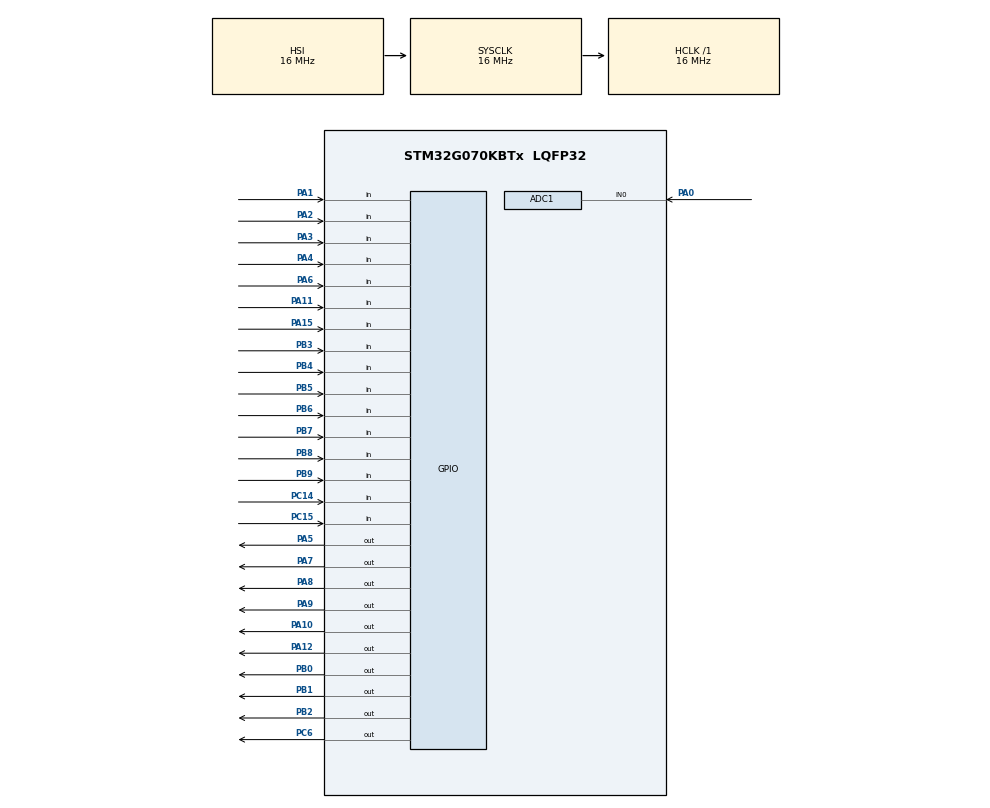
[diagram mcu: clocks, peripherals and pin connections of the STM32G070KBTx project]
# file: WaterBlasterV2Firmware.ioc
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ADC1.Channel-0\#ChannelRegularConversion=ADC_CHANNEL_0
ADC1.NbrOfConversionFlag=1
ADC1.Rank-0\#ChannelRegularConversion=1
ADC1.SamplingTime-0\#ChannelRegularConversion=ADC_SAMPLINGTIME_COMMON_1
ADC1.SelectedChannel=ADC_CHANNEL_0
ADC1.master=1
Mcu.Family=STM32G0
Mcu.Name=STM32G070KBTx
Mcu.Package=LQFP32
PA0.Mode=IN0
PA0.Signal=ADC1_IN0
PA1.Signal=GPIO_Input
PA10.Signal=GPIO_Output
PA11\ [PA9].Signal=GPIO_Input
PA12\ [PA10].Signal=GPIO_Output
PA13.Mode=Serial_Wire
PA13.Signal=SYS_SWDIO
PA14-BOOT0.Mode=Serial_Wire
PA14-BOOT0.Signal=SYS_SWCLK
PA15.Signal=GPIO_Input
PA2.Signal=GPIO_Input
PA3.Signal=GPIO_Input
PA4.Signal=GPIO_Input
PA5.Signal=GPIO_Output
PA6.Signal=GPIO_Input
PA7.Signal=GPIO_Output
PA8.Signal=GPIO_Output
PA9.Signal=GPIO_Output
PB0.Signal=GPIO_Output
PB1.Signal=GPIO_Output
PB2.Signal=GPIO_Output
PB3.Signal=GPIO_Input
PB4.Signal=GPIO_Input
PB5.Signal=GPIO_Input
PB6.Signal=GPIO_Input
PB7.Signal=GPIO_Input
PB8.Signal=GPIO_Input
PB9.Signal=GPIO_Input
PC14-OSC32_IN\ (PC14).Signal=GPIO_Input
PC15-OSC32_OUT\ (PC15).Signal=GPIO_Input
PC6.Signal=GPIO_Output
ProjectManager.HeapSize=0x200
ProjectManager.StackSize=0x400
ProjectManager.TargetToolchain=STM32CubeIDE
RCC.AHBFreq_Value=16000000
RCC.CortexFreq_Value=16000000
RCC.EXTERNAL_CLOCK_VALUE=48000
RCC.HCLKFreq_Value=16000000
RCC.HSE_VALUE=8000000
RCC.HSI_VALUE=16000000
RCC.LSE_VALUE=32768
RCC.SYSCLKFreq_VALUE=16000000
RCC.VCOOutputFreq_Value=128000000
board=custom

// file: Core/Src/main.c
/* USER CODE BEGIN Header */
/**
 ******************************************************************************
 * @file           : main.c
 * @brief          : Main program body
 ******************************************************************************
 * @attention
 *
 * Copyright (c) 2025 STMicroelectronics.
 * All rights reserved.
 *
 * This software is licensed under terms that can be found in the LICENSE file
 * in the root directory of this software component.
 * If no LICENSE file comes with this software, it is provided AS-IS.
 *
 ******************************************************************************
 */
/* USER CODE END Header */
#include "main.h"

#include "newhaven_slim_oled.h"

    int use_sensors = 0;

ADC_HandleTypeDef hadc1;

int read_pressure_psi(void) {
    HAL_ADC_Start(&hadc1);

    if (HAL_ADC_PollForConversion(&hadc1, HAL_MAX_DELAY) != HAL_OK) {
        return -1;
    }

    uint32_t adc_raw_value = HAL_ADC_GetValue(&hadc1);
    float voltage = ((adc_raw_value * 3.3f) / 4095.0f) * 2.0f;

    if (voltage < 0.7f) voltage = 0.7f;
    if (voltage > 4.5f) voltage = 4.5f;

    float pressure = ((voltage - 0.7f) / 3.8f) * 150.0f;

    // Proper rounding for both positive and negative values
    if (pressure >= 0.0f)
        return (int)(pressure + 0.5f);
    else
        return (int)(pressure - 0.5f);
}
/* USER CODE BEGIN PV */
static uint8_t last_encoded = 0;

int read_encoder_delta(void) {
    static uint8_t last_state = 0;
    static int8_t delta_accumulator = 0;

    uint8_t a = HAL_GPIO_ReadPin(GPIOA, GPIO_PIN_2);
    uint8_t b = HAL_GPIO_ReadPin(GPIOA, GPIO_PIN_3);

    uint8_t new_state = (a << 1) | b;

    // Only act if state actually changed
    if (new_state != last_state) {
        // Combine old and new state into 4-bit transition code
        uint8_t transition = (last_state << 2) | new_state;
        last_state = new_state;

        // Decode direction
        switch (transition) {
            case 0b0001:
            case 0b0111:
            case 0b1110:
            case 0b1000:
                delta_accumulator++;
                break;

            case 0b0010:
            case 0b1011:
            case 0b1101:
            case 0b0100:
                delta_accumulator--;
                break;

            default:
                // Illegal transition or bounce; ignore
                break;
        }

        // Return ±1 only when 4 steps in one direction accumulated
        if (delta_accumulator >= 4) {
            delta_accumulator = 0;
            return 1;
        } else if (delta_accumulator <= -4) {
            delta_accumulator = 0;
            return -1;
        }
    }

    return 0;
}

char OLED[4][20];
char Buffer[4][20]; // staging buffer to write to

void clear_buffer(void) {
    for (int row = 0; row < 4; row++) {
        memset(Buffer[row], ' ', 20);
    }
}

void update_display_chunks(char Buffer[4][20]) {
    for (uint8_t row = 0; row < 4; row++) {
        uint32_t *oled_row = (uint32_t *)OLED[row];
        uint32_t *buf_row  = (uint32_t *)Buffer[row];

        for (uint8_t chunk = 0; chunk < 5; chunk++) { // 20 chars / 4 = 5 chunks
            if (oled_row[chunk] != buf_row[chunk]) {
                // There's a difference in this chunk — do per-char check
                uint8_t base_col = chunk * 4;

                for (uint8_t offset = 0; offset < 4; offset++) {
                    uint8_t col = base_col + offset;
                    if (Buffer[row][col] != OLED[row][col]) {
                        NHD_OLED_cursorPos(row, col);
                        NHD_OLED_sendData(Buffer[row][col]);
                        OLED[row][col] = Buffer[row][col];
//                        Buffer[row][col] = 0x20;
                    }
                }
            }
        }
    }
}

void pad_center(char dst[20], const char *src) {
    int len = strlen(src);
    if (len > 20) len = 20;

    int pad_left = (20 - len) / 2;
    int pad_right = 20 - len - pad_left;

    memset(dst, ' ', 20);
    memcpy(dst + pad_left, src, len);
}

void pad_right_20(char dst[20], const char *src) {
    int len = strlen(src);
    if (len > 20) len = 20;

    memset(dst, ' ', 20);
    memcpy(dst + (20 - len), src, len);
}

void pad_left_20(char dst[20], const char *src) {
    int len = strlen(src);
    if (len > 20) len = 20;

    memcpy(dst, src, len);
    if (len < 20)
        memset(dst + len, ' ', 20 - len);
}

void enter_emergency_shutdown(void) {
    // Immediately stop everything
    HAL_GPIO_WritePin(GPIOA, GPIO_PIN_8, GPIO_PIN_RESET); // valve closed
    HAL_GPIO_WritePin(GPIOB, GPIO_PIN_2, GPIO_PIN_RESET); // pump off
    HAL_GPIO_WritePin(GPIOA, GPIO_PIN_9, GPIO_PIN_RESET); // LED1 off
    HAL_GPIO_WritePin(GPIOA, GPIO_PIN_10, GPIO_PIN_RESET); // LED2 off
    HAL_GPIO_WritePin(GPIOC, GPIO_PIN_6, GPIO_PIN_RESET); // LED3 off

    clear_buffer();
    pad_center(Buffer[1], "!! LEAK DETECTED !!");
    pad_center(Buffer[2], "Shutdown.");
    update_display_chunks(Buffer);

    uint32_t shutdown_start = HAL_GetTick();

    while (HAL_GetTick() - shutdown_start < 5000) {
        HAL_Delay(10); // Wait quietly for 5 seconds
    }

    NHD_OLED_displayOff(); // Turn off OLED after 5 sec

    // Now sit here doing nothing until a reset button (e.g., PB3) is pressed
    while (HAL_GPIO_ReadPin(GPIOB, GPIO_PIN_6) == GPIO_PIN_SET) {
        // Waiting for PB3 to be pressed
        HAL_Delay(10);
    }

    // Optionally: Hard reset microcontroller when button is pressed
    NVIC_SystemReset();
}

void monitor_status(void) {
	int current_psi = read_pressure_psi();
	if(use_sensors == 1){
		if(HAL_GPIO_ReadPin(GPIOB, GPIO_PIN_3) == GPIO_PIN_RESET || HAL_GPIO_ReadPin(GPIOB, GPIO_PIN_4) == GPIO_PIN_RESET || HAL_GPIO_ReadPin(GPIOA, GPIO_PIN_15) == GPIO_PIN_RESET || current_psi > 125){

		// Immediately stop everything
		HAL_GPIO_WritePin(GPIOA, GPIO_PIN_8, GPIO_PIN_RESET); // valve closed
		HAL_GPIO_WritePin(GPIOB, GPIO_PIN_2, GPIO_PIN_RESET); // pump off
		HAL_GPIO_WritePin(GPIOA, GPIO_PIN_9, GPIO_PIN_RESET); // LED1 off
		HAL_GPIO_WritePin(GPIOA, GPIO_PIN_10, GPIO_PIN_RESET); // LED2 off
		HAL_GPIO_WritePin(GPIOC, GPIO_PIN_6, GPIO_PIN_RESET); // LED3 off

		clear_buffer();
		pad_center(Buffer[1], "!! LEAK DETECTED !!");
		pad_center(Buffer[2], "Shutdown.");
		update_display_chunks(Buffer);

		uint32_t shutdown_start = HAL_GetTick();

		while (HAL_GetTick() - shutdown_start < 5000) {
			HAL_Delay(10); // Wait quietly for 5 seconds
		}

		NHD_OLED_displayOff(); // Turn off OLED after 5 sec

		// Now sit here doing nothing until a reset button (e.g., PB3) is pressed
		while (HAL_GPIO_ReadPin(GPIOB, GPIO_PIN_7) == GPIO_PIN_SET) {
			// Waiting for PB3 to be pressed
			HAL_Delay(10);
		}

		// Optionally: Hard reset microcontroller when button is pressed
		NVIC_SystemReset();
		}
	}
}
/* USER CODE END PV */
int psi_to_percent(int psi) {
    if (psi >= 75) return 100;
    if (psi <= 25) return 0;

    return ((psi - 25) * 100) / 50;  // scale from 25–75 PSI to 0–100%
}

void SystemClock_Config(void);
static void MX_GPIO_Init(void);
static void MX_ADC1_Init(void);

/* USER CODE BEGIN 0 */
// Declare a global variable to track the last tick
/*
 *
 *
 0 = home page
 1 = settings for shot length
 *
 */
/* USER CODE END 0 */

int main(void) {
    uint32_t previousTick = 0;
    uint32_t lastPressureUpdate = 0;
    static int last_pressure_value = -1;

    int shots = 0;
    int page = 0;
    int shot_length = 1000;
    int shot_max = 10000;
    int shot_min = 20;
    int pressed = 0;
    int fire_type = 0;
    int ignore_shots_remaining = 1;
    char message[20];
    static uint8_t refill_button_was_down = 0;
    uint8_t length;
	static uint8_t emergency_previous = 1;
	const char *settings_options[] = {
	    "Shot Length",
	    "Firing Mode",
	    "Drain Tank",
	    "Safety Monitoring",
		"Fire Bypass"
	};
	const int settings_count = sizeof(settings_options) / sizeof(settings_options[0]);

	int settings_selection = 0;   // Which item is selected (0 to 5)
	int settings_scroll = 0;      // Topmost visible option index

    HAL_Init();
    SystemClock_Config();
    MX_GPIO_Init();
    MX_ADC1_Init();
    HAL_ADC_Start(&hadc1);

    HAL_GPIO_WritePin(GPIOB, GPIO_PIN_0, GPIO_PIN_RESET);
    HAL_GPIO_WritePin(GPIOB, GPIO_PIN_1, GPIO_PIN_SET);
    HAL_Delay(500);
    NHD_OLED_begin();
    NHD_OLED_textClear();

    HAL_GPIO_WritePin(GPIOA, GPIO_PIN_8, GPIO_PIN_RESET); // Valve CLOSED on startup
    HAL_GPIO_WritePin(GPIOA, GPIO_PIN_9, GPIO_PIN_SET);
    HAL_GPIO_WritePin(GPIOA, GPIO_PIN_10, GPIO_PIN_SET);
    HAL_GPIO_WritePin(GPIOC, GPIO_PIN_6, GPIO_PIN_SET);

    // Force PB5 to be input with no pull
    GPIO_InitTypeDef GPIO_InitStruct = {0};
    GPIO_InitStruct.Pin = GPIO_PIN_5;
    GPIO_InitStruct.Mode = GPIO_MODE_INPUT;
    GPIO_InitStruct.Pull = GPIO_NOPULL;
    HAL_GPIO_Init(GPIOB, &GPIO_InitStruct);

    GPIO_InitStruct.Pin = GPIO_PIN_7;
    GPIO_InitStruct.Mode = GPIO_MODE_INPUT;
    GPIO_InitStruct.Pull = GPIO_NOPULL;
    HAL_GPIO_Init(GPIOB, &GPIO_InitStruct);

    page = 100;
    int power_pressed = 0;

    while (1) {
        uint8_t button_now = HAL_GPIO_ReadPin(GPIOB, GPIO_PIN_7);

        if (button_now == GPIO_PIN_RESET) { // Button pressed
            if (power_pressed == 0) { // Only act if wasn't already pressed

                HAL_Delay(10); // 🔥 Add debounce delay (10ms typical)

                if (HAL_GPIO_ReadPin(GPIOB, GPIO_PIN_7) == GPIO_PIN_RESET) {
                    // Still pressed after delay ➔ valid press
                    if (page == 100) {
                        page = 0; // Turn display ON
                    } else {
                        page = 100; // Turn display OFF
                        clear_buffer();
                        update_display_chunks(Buffer);
                    }
                }
            }
            power_pressed = 1;
        } else {
            power_pressed = 0;
        	if(page == 100) continue;

			monitor_status();

			if (!HAL_GPIO_ReadPin(GPIOB, GPIO_PIN_5)) {
				if (pressed != 1) {
					page = (page == 0) ? 1 : 0;
					clear_buffer();
					update_display_chunks(Buffer);
					pressed = 1;
				}
			} else {
				pressed = 0;
			}

			if (page == 0) {
				pad_center(Buffer[0], "Home Page");

				if (HAL_GetTick() - lastPressureUpdate >= 250) {
					last_pressure_value = read_pressure_psi();
					lastPressureUpdate = HAL_GetTick();
				}

				snprintf(message, sizeof(message), "%d PSI", last_pressure_value);
				pad_center(Buffer[1], message);

				int tank_percent = psi_to_percent(last_pressure_value);
				snprintf(message, sizeof(message), "Tank: %d%%", tank_percent);
				pad_center(Buffer[2], message);

				// trigger
				if (HAL_GPIO_ReadPin(GPIOA, GPIO_PIN_11) == GPIO_PIN_RESET) {
				    switch (fire_type) {
				        case 0: // Single Shot
				            if (shots > 0 || ignore_shots_remaining) {
				                HAL_GPIO_TogglePin(GPIOA, GPIO_PIN_9);
				                HAL_GPIO_WritePin(GPIOA, GPIO_PIN_8, GPIO_PIN_SET); // valve open
				                pad_center(Buffer[3], "Firing");
				                update_display_chunks(Buffer);
				                HAL_Delay(shot_length);
				                HAL_GPIO_WritePin(GPIOA, GPIO_PIN_8, GPIO_PIN_RESET); // valve closed
				                HAL_GPIO_TogglePin(GPIOA, GPIO_PIN_9);
				                pad_center(Buffer[3], "Shot Fired");
				                update_display_chunks(Buffer);
				                shots--;
				                if (shots < 0) shots = 0;
				            } else {
				                pad_center(Buffer[3], "Out of Shots!");
				                update_display_chunks(Buffer);
				                HAL_Delay(1500);
				                pad_center(Buffer[3], " ");
				            }
				            break;

				        case 1: // Burst Fire (3 shots)
				            for (int i = 0; i < 3; i++) {
				                if (shots <= 0 && !ignore_shots_remaining) break;
				                HAL_GPIO_TogglePin(GPIOA, GPIO_PIN_9);
				                HAL_GPIO_WritePin(GPIOA, GPIO_PIN_8, GPIO_PIN_SET); // valve open
				                pad_center(Buffer[3], "Burst Shot");
				                update_display_chunks(Buffer);
				                HAL_Delay(shot_length);
				                HAL_GPIO_WritePin(GPIOA, GPIO_PIN_8, GPIO_PIN_RESET); // valve closed
				                HAL_GPIO_TogglePin(GPIOA, GPIO_PIN_9);
				                shots--;
				                if (shots < 0) shots = 0;
				                HAL_Delay(100); // delay between burst shots
				            }
				            pad_center(Buffer[3], "Burst Done");
				            update_display_chunks(Buffer);
				            break;

				        case 2: // Stream (hold until trigger released)
				            pad_center(Buffer[3], "Streaming...");
				            update_display_chunks(Buffer);

				            HAL_GPIO_TogglePin(GPIOA, GPIO_PIN_9);
				            HAL_GPIO_WritePin(GPIOA, GPIO_PIN_8, GPIO_PIN_SET); // valve open

				            while (HAL_GPIO_ReadPin(GPIOA, GPIO_PIN_11) == GPIO_PIN_RESET) {
				                if (shots <= 0 && !ignore_shots_remaining) break;
				                HAL_Delay(10); // short loop delay
				                // optionally update shots/time/pressure live here
				            }

				            HAL_GPIO_WritePin(GPIOA, GPIO_PIN_8, GPIO_PIN_RESET); // valve closed
				            HAL_GPIO_TogglePin(GPIOA, GPIO_PIN_9);

				            pad_center(Buffer[3], "Stream Ended");
				            update_display_chunks(Buffer);

				            if (!ignore_shots_remaining) {
				                // Estimate how many shots to deduct based on time
				                // (Optional improvement: measure real time instead of guessing)
				                shots--;
				                if (shots < 0) shots = 0;
				            }
				            break;
				    }
				}

				uint8_t refill_button = HAL_GPIO_ReadPin(GPIOB, GPIO_PIN_6);
				if (refill_button == GPIO_PIN_RESET && !refill_button_was_down) {
					refill_button_was_down = 1;

					int cancelled = 0;
					int refill_button_was_released = 0;
					int current_psi = read_pressure_psi();

					HAL_GPIO_WritePin(GPIOA, GPIO_PIN_8, GPIO_PIN_SET); // open valve
					HAL_GPIO_WritePin(GPIOB, GPIO_PIN_2, GPIO_PIN_SET);   // pump on
					HAL_GPIO_WritePin(GPIOC, GPIO_PIN_6, GPIO_PIN_SET);   // LED on

					pad_center(Buffer[3], "Refill: Valve Open");
					snprintf(message, sizeof(message), "%d PSI", current_psi);
					pad_center(Buffer[1], message);
					snprintf(message, sizeof(message), "Tank: %d%%", psi_to_percent(current_psi));
					pad_center(Buffer[2], message);

					update_display_chunks(Buffer);

					while (1) {
						monitor_status();

						if (HAL_GPIO_ReadPin(GPIOB, GPIO_PIN_6) == GPIO_PIN_SET) refill_button_was_released = 1;
						if (refill_button_was_released && HAL_GPIO_ReadPin(GPIOB, GPIO_PIN_6) == GPIO_PIN_RESET) {
							cancelled = 1;
							break;
						}
						current_psi = read_pressure_psi();
						pad_center(Buffer[3], "Refill: Valve Open");
						snprintf(message, sizeof(message), "%d PSI", current_psi);
						pad_center(Buffer[1], message);
						snprintf(message, sizeof(message), "Tank: %d%%", psi_to_percent(current_psi));
						pad_center(Buffer[2], message);

						update_display_chunks(Buffer);
						if (current_psi >= 12) {
							HAL_GPIO_WritePin(GPIOA, GPIO_PIN_8, GPIO_PIN_RESET); // close valve immediately
							pad_center(Buffer[3], "Refill: Valve Shut");
							snprintf(message, sizeof(message), "%d PSI", current_psi);
							pad_center(Buffer[1], message);
							snprintf(message, sizeof(message), "Tank: %d%%", psi_to_percent(current_psi));
							pad_center(Buffer[2], message);

							update_display_chunks(Buffer);
							break;
						}
						HAL_Delay(100);
					}

					while (!cancelled && current_psi < 70) {
						monitor_status();
						if (HAL_GPIO_ReadPin(GPIOB, GPIO_PIN_6) == GPIO_PIN_SET) refill_button_was_released = 1;
						if (refill_button_was_released && HAL_GPIO_ReadPin(GPIOB, GPIO_PIN_6) == GPIO_PIN_RESET) {
							cancelled = 1;
							break;
						}
						current_psi = read_pressure_psi();
						pad_center(Buffer[3], "Refill: Charging");
						snprintf(message, sizeof(message), "%d PSI", current_psi);
						pad_center(Buffer[1], message);
						snprintf(message, sizeof(message), "Tank: %d%%", psi_to_percent(current_psi));
						pad_center(Buffer[2], message);

						update_display_chunks(Buffer);
						HAL_Delay(100);
					}

					if (!cancelled) {
						monitor_status();
						pad_center(Buffer[3], "Refill: Final Boost");
						update_display_chunks(Buffer);
						uint32_t end_time = HAL_GetTick() + 5000;
						while (HAL_GetTick() < end_time) {
							if (HAL_GPIO_ReadPin(GPIOB, GPIO_PIN_6) == GPIO_PIN_SET) refill_button_was_released = 1;
							if (refill_button_was_released && HAL_GPIO_ReadPin(GPIOB, GPIO_PIN_6) == GPIO_PIN_RESET) {
								cancelled = 1;
								break;
							}
							current_psi = read_pressure_psi();
							snprintf(message, sizeof(message), "%d PSI", current_psi);
							pad_center(Buffer[1], message);
							snprintf(message, sizeof(message), "Tank: %d%%", psi_to_percent(current_psi));
							pad_center(Buffer[2], message);

							update_display_chunks(Buffer);
							HAL_Delay(100);
						}
					}

					// Always close the valve after refill attempt
					HAL_GPIO_WritePin(GPIOA, GPIO_PIN_8, GPIO_PIN_RESET);
					HAL_GPIO_WritePin(GPIOB, GPIO_PIN_2, GPIO_PIN_RESET);  // pump off
					HAL_GPIO_WritePin(GPIOC, GPIO_PIN_6, GPIO_PIN_RESET);  // LED off

					if (cancelled) pad_center(Buffer[3], "Refill: Cancelled");
					else pad_center(Buffer[3], "Refill: Complete");

					snprintf(message, sizeof(message), "%d PSI", current_psi);
					pad_center(Buffer[1], message);
					snprintf(message, sizeof(message), "Tank: %d%%", psi_to_percent(current_psi));
					pad_center(Buffer[2], message);

					update_display_chunks(Buffer);

					if (HAL_GPIO_ReadPin(GPIOB, GPIO_PIN_6) == GPIO_PIN_SET) {
						refill_button_was_down = 0;
					}
				}

				if (refill_button == GPIO_PIN_SET) refill_button_was_down = 0;

				if (HAL_GetTick() - previousTick >= 1000) {
					HAL_GPIO_TogglePin(GPIOA, GPIO_PIN_10);
					previousTick = HAL_GetTick();
				}

				update_display_chunks(Buffer);
			}
			if (page == 1) {
			    pad_center(Buffer[0], "Settings");

			    while (1) {  // Stay here until button press
			        // Fill Buffer
			        for (int i = 0; i < 3; i++) {
			            int option_idx = settings_scroll + i;
			            if (option_idx < settings_count) {
			                if (option_idx == settings_selection) {
			                    char temp[20];
			                    snprintf(temp, sizeof(temp), ">%s", settings_options[option_idx]);
			                    pad_left_20(Buffer[i + 1], temp);
			                } else {
			                    pad_left_20(Buffer[i + 1], settings_options[option_idx]);
			                }
			            } else {
			                pad_left_20(Buffer[i + 1], "");
			            }
			        }

			        update_display_chunks(Buffer);

			        // Handle emergency
					monitor_status();

			        // Handle encoder rotation
			        int delta = read_encoder_delta();
			        if (delta != 0) {
			            settings_selection += delta * -1;

			            if (settings_selection < 0) settings_selection = 0;
			            if (settings_selection >= settings_count) settings_selection = settings_count - 1;

			            if (settings_selection < settings_scroll) {
			                settings_scroll = settings_selection;
			            }
			            else if (settings_selection >= settings_scroll + 3) {
			                settings_scroll = settings_selection - 2;
			                if (settings_scroll > settings_count - 3) {
			                    settings_scroll = settings_count - 3;
			                    if (settings_scroll < 0) settings_scroll = 0;
			                }
			            }

//			            clear_buffer();
			        }

			        // ======= Button handling: (THIS IS THE IMPORTANT PART) =======

			        // PA4 pressed (encoder button) → select setting
			        if (HAL_GPIO_ReadPin(GPIOA, GPIO_PIN_4) == GPIO_PIN_RESET && pressed == 0) {
			            pressed = 1;
			            page = settings_selection + 2; // Enter selected setting page
			            break;
			        }

			        // PB5 pressed (exit button) → go back to home
			        if (HAL_GPIO_ReadPin(GPIOB, GPIO_PIN_5) == GPIO_PIN_RESET && pressed == 0) {
			            pressed = 1;
			            page = 0; // Back to Home Page
			            break;
			        }

			        // Debounce release
			        if (HAL_GPIO_ReadPin(GPIOA, GPIO_PIN_4) == GPIO_PIN_SET && HAL_GPIO_ReadPin(GPIOB, GPIO_PIN_5) == GPIO_PIN_SET) {
			            pressed = 0;
			        }

			        HAL_Delay(1);
			    }

			    clear_buffer();
			    update_display_chunks(Buffer);
			}

			if (page == 2) {
				pad_center(Buffer[0], "Settings: Shot Power");
				snprintf(message, sizeof(message), "Min: %d, Max: %d", shot_min, shot_max);
				pad_left_20(Buffer[1], message);
				snprintf(message, sizeof(message), "Current Level: %d", shot_length);
				pad_left_20(Buffer[2], message);
				update_display_chunks(Buffer);

				while (HAL_GPIO_ReadPin(GPIOA, GPIO_PIN_4) || pressed == 1) {
					if(HAL_GPIO_ReadPin(GPIOA, GPIO_PIN_4) == GPIO_PIN_SET){
						pressed = 0;
					}
					monitor_status();
					int delta = read_encoder_delta();
					if (delta != 0) {
						shot_length += delta * 20 * -1;
						if (shot_length < shot_min) shot_length = shot_min;
						if (shot_length > shot_max) shot_length = shot_max;
						snprintf(message, sizeof(message), "Current Level: %d", shot_length);
						pad_left_20(Buffer[2], message);
						update_display_chunks(Buffer);
					}
					HAL_Delay(1);
				}

				page = 1;
				clear_buffer();
				update_display_chunks(Buffer);
				pressed = 1;
			}
			if (page == 3) {
			    const char *fire_modes[] = { "Single", "Burst", "Stream" };
			    const int fire_mode_count = sizeof(fire_modes) / sizeof(fire_modes[0]);

			    pad_center(Buffer[0], "Settings: Firing Mode");
			    snprintf(message, sizeof(message), "Mode: %s", fire_modes[fire_type]);
			    pad_center(Buffer[2], message);
			    update_display_chunks(Buffer);

			    while (HAL_GPIO_ReadPin(GPIOA, GPIO_PIN_4) || pressed == 1) {
			        if (HAL_GPIO_ReadPin(GPIOA, GPIO_PIN_4) == GPIO_PIN_SET) {
			            pressed = 0;
			        }

					monitor_status();

			        int delta = read_encoder_delta();
			        if (delta != 0) {
			            fire_type += delta * -1;

			            // Wrap within 0 to fire_mode_count - 1
			            if (fire_type < 0) fire_type = 0;
			            if (fire_type >= fire_mode_count) fire_type = fire_mode_count - 1;

			            snprintf(message, sizeof(message), "Mode: %s", fire_modes[fire_type]);
			            pad_center(Buffer[2], message);
			            update_display_chunks(Buffer);
			        }

			        HAL_Delay(1);
			    }

			    page = 1;
			    clear_buffer();
			    update_display_chunks(Buffer);
			    pressed = 1;
			}
			if (page == 5) {
			    const char *sensor_options[] = { "Disabled", "Enabled" };
			    const int sensor_option_count = sizeof(sensor_options) / sizeof(sensor_options[0]);

			    pad_center(Buffer[0], "Settings: Sensors");
			    snprintf(message, sizeof(message), "Status: %s", sensor_options[use_sensors]);
			    pad_center(Buffer[2], message);
			    update_display_chunks(Buffer);

			    while (HAL_GPIO_ReadPin(GPIOA, GPIO_PIN_4) || pressed == 1) {
			        if (HAL_GPIO_ReadPin(GPIOA, GPIO_PIN_4) == GPIO_PIN_SET) {
			            pressed = 0;
			        }

			        if (HAL_GPIO_ReadPin(GPIOB, GPIO_PIN_4) == GPIO_PIN_RESET) {
			            enter_emergency_shutdown();
			        }

			        int delta = read_encoder_delta();
			        if (delta != 0) {
			            use_sensors += delta * -1;

			            // Clamp between 0 and 1
			            if (use_sensors < 0) use_sensors = 0;
			            if (use_sensors > 1) use_sensors = 1;

			            snprintf(message, sizeof(message), "Status: %s", sensor_options[use_sensors]);
			            pad_center(Buffer[2], message);
			            update_display_chunks(Buffer);
			        }

			        HAL_Delay(1);
			    }

			    page = 1;
			    clear_buffer();
			    update_display_chunks(Buffer);
			    pressed = 1;
			}
			if (page == 6) {
			    const char *bypass_options[] = { "Disabled", "Enabled" };
			    const int bypass_option_count = sizeof(bypass_options) / sizeof(bypass_options[0]);

			    pad_center(Buffer[0], "Settings: Fire Bypass");
			    snprintf(message, sizeof(message), "Status: %s", bypass_options[ignore_shots_remaining]);
			    pad_center(Buffer[2], message);
			    update_display_chunks(Buffer);

			    while (HAL_GPIO_ReadPin(GPIOA, GPIO_PIN_4) || pressed == 1) {
			        if (HAL_GPIO_ReadPin(GPIOA, GPIO_PIN_4) == GPIO_PIN_SET) {
			            pressed = 0;
			        }

			        if (HAL_GPIO_ReadPin(GPIOB, GPIO_PIN_4) == GPIO_PIN_RESET) {
			            enter_emergency_shutdown();
			        }

			        int delta = read_encoder_delta();
			        if (delta != 0) {
			            ignore_shots_remaining += delta * -1;

			            // Clamp between 0 and 1
			            if (ignore_shots_remaining < 0) ignore_shots_remaining = 0;
			            if (ignore_shots_remaining > 1) ignore_shots_remaining = 1;

			            snprintf(message, sizeof(message), "Status: %s", bypass_options[ignore_shots_remaining]);
			            pad_center(Buffer[2], message);
			            update_display_chunks(Buffer);
			        }

			        HAL_Delay(1);
			    }

			    page = 1;
			    clear_buffer();
			    update_display_chunks(Buffer);
			    pressed = 1;
			}
			if (page == 4) {
			    pad_center(Buffer[0], "Drain Tank");
			    pad_center(Buffer[2], "Valve Open");
			    update_display_chunks(Buffer);

			    HAL_GPIO_WritePin(GPIOA, GPIO_PIN_8, GPIO_PIN_SET); // valve open

			    uint32_t start_time = HAL_GetTick();
			    const uint32_t drain_duration_ms = 60000;

			    while (HAL_GetTick() - start_time < drain_duration_ms) {
			        // Exit early if encoder button is pressed
			        if (HAL_GPIO_ReadPin(GPIOA, GPIO_PIN_4) == GPIO_PIN_RESET) {
			            break;
			        }

			        monitor_status();

			        // Update countdown display every second
			        uint32_t seconds_left = (drain_duration_ms - (HAL_GetTick() - start_time)) / 1000;
			        snprintf(message, sizeof(message), "Time Left: %lus", seconds_left);
			        pad_center(Buffer[3], message);
			        update_display_chunks(Buffer);

			        HAL_Delay(100); // fast enough for cancel, slow enough for display
			    }

			    HAL_GPIO_WritePin(GPIOA, GPIO_PIN_8, GPIO_PIN_RESET); // valve closed

			    pad_center(Buffer[2], "Valve Closed");
			    pad_center(Buffer[3], "Returning...");
			    update_display_chunks(Buffer);
			    HAL_Delay(1000);

			    page = 1;
			    clear_buffer();
			    update_display_chunks(Buffer);
			    pressed = 1;
			}

		}
	}
}

void SystemClock_Config(void)
{
  RCC_OscInitTypeDef RCC_OscInitStruct = {0};
  RCC_ClkInitTypeDef RCC_ClkInitStruct = {0};

  /** Configure the main internal regulator output voltage
  */
  HAL_PWREx_ControlVoltageScaling(PWR_REGULATOR_VOLTAGE_SCALE1);

  /** Initializes the RCC Oscillators according to the specified parameters
  * in the RCC_OscInitTypeDef structure.
  */
  RCC_OscInitStruct.OscillatorType = RCC_OSCILLATORTYPE_HSI;
  RCC_OscInitStruct.HSIState = RCC_HSI_ON;
  RCC_OscInitStruct.HSIDiv = RCC_HSI_DIV1;
  RCC_OscInitStruct.HSICalibrationValue = RCC_HSICALIBRATION_DEFAULT;
  RCC_OscInitStruct.PLL.PLLState = RCC_PLL_NONE;
  if (HAL_RCC_OscConfig(&RCC_OscInitStruct) != HAL_OK)
  {
    Error_Handler();
  }

  /** Initializes the CPU, AHB and APB buses clocks
  */
  RCC_ClkInitStruct.ClockType = RCC_CLOCKTYPE_HCLK|RCC_CLOCKTYPE_SYSCLK
                              |RCC_CLOCKTYPE_PCLK1;
  RCC_ClkInitStruct.SYSCLKSource = RCC_SYSCLKSOURCE_HSI;
  RCC_ClkInitStruct.AHBCLKDivider = RCC_SYSCLK_DIV1;
  RCC_ClkInitStruct.APB1CLKDivider = RCC_HCLK_DIV1;

  if (HAL_RCC_ClockConfig(&RCC_ClkInitStruct, FLASH_LATENCY_0) != HAL_OK)
  {
    Error_Handler();
  }
}

static void MX_ADC1_Init(void)
{

  ADC_ChannelConfTypeDef sConfig = {0};

  /** Configure the global features of the ADC (Clock, Resolution, Data Alignment and number of conversion)
  */
  hadc1.Instance = ADC1;
  hadc1.Init.ClockPrescaler = ADC_CLOCK_SYNC_PCLK_DIV2;
  hadc1.Init.Resolution = ADC_RESOLUTION_12B;
  hadc1.Init.DataAlign = ADC_DATAALIGN_RIGHT;
  hadc1.Init.ScanConvMode = ADC_SCAN_DISABLE;
  hadc1.Init.EOCSelection = ADC_EOC_SINGLE_CONV;
  hadc1.Init.LowPowerAutoWait = DISABLE;
  hadc1.Init.LowPowerAutoPowerOff = DISABLE;
  hadc1.Init.ContinuousConvMode = DISABLE;
  hadc1.Init.NbrOfConversion = 1;
  hadc1.Init.DiscontinuousConvMode = DISABLE;
  hadc1.Init.ExternalTrigConv = ADC_SOFTWARE_START;
  hadc1.Init.ExternalTrigConvEdge = ADC_EXTERNALTRIGCONVEDGE_NONE;
  hadc1.Init.DMAContinuousRequests = DISABLE;
  hadc1.Init.Overrun = ADC_OVR_DATA_PRESERVED;
  hadc1.Init.SamplingTimeCommon1 = ADC_SAMPLETIME_1CYCLE_5;
  hadc1.Init.SamplingTimeCommon2 = ADC_SAMPLETIME_1CYCLE_5;
  hadc1.Init.OversamplingMode = DISABLE;
  hadc1.Init.TriggerFrequencyMode = ADC_TRIGGER_FREQ_HIGH;
  if (HAL_ADC_Init(&hadc1) != HAL_OK)
  {
    Error_Handler();
  }

  /** Configure Regular Channel
  */
  sConfig.Channel = ADC_CHANNEL_0;
  sConfig.Rank = ADC_REGULAR_RANK_1;
  sConfig.SamplingTime = ADC_SAMPLINGTIME_COMMON_1;
  if (HAL_ADC_ConfigChannel(&hadc1, &sConfig) != HAL_OK)
  {
    Error_Handler();
  }

}

static void MX_GPIO_Init(void)
{
  GPIO_InitTypeDef GPIO_InitStruct = {0};

  /* GPIO Ports Clock Enable */
  __HAL_RCC_GPIOB_CLK_ENABLE();
  __HAL_RCC_GPIOC_CLK_ENABLE();
  __HAL_RCC_GPIOA_CLK_ENABLE();

  /*Configure GPIO pin Output Level */
  HAL_GPIO_WritePin(GPIOA, GPIO_PIN_5|GPIO_PIN_7|GPIO_PIN_8|GPIO_PIN_9
                          |GPIO_PIN_10|GPIO_PIN_12, GPIO_PIN_RESET);

  /*Configure GPIO pin Output Level */
  HAL_GPIO_WritePin(GPIOB, GPIO_PIN_0|GPIO_PIN_1|GPIO_PIN_2, GPIO_PIN_RESET);

  /*Configure GPIO pin Output Level */
  HAL_GPIO_WritePin(GPIOC, GPIO_PIN_6, GPIO_PIN_RESET);

  /*Configure GPIO pins : PB9 PB3 PB4 PB5
                           PB6 PB7 PB8 */
  GPIO_InitStruct.Pin = GPIO_PIN_9|GPIO_PIN_3|GPIO_PIN_4|GPIO_PIN_5
                          |GPIO_PIN_6|GPIO_PIN_7|GPIO_PIN_8;
  GPIO_InitStruct.Mode = GPIO_MODE_INPUT;
  GPIO_InitStruct.Pull = GPIO_NOPULL;
  HAL_GPIO_Init(GPIOB, &GPIO_InitStruct);

  /*Configure GPIO pins : PC14 PC15 */
  GPIO_InitStruct.Pin = GPIO_PIN_14|GPIO_PIN_15;
  GPIO_InitStruct.Mode = GPIO_MODE_INPUT;
  GPIO_InitStruct.Pull = GPIO_NOPULL;
  HAL_GPIO_Init(GPIOC, &GPIO_InitStruct);

  /*Configure GPIO pins : PA1 PA2 PA3 PA4
                           PA6 PA11 PA15 */
  GPIO_InitStruct.Pin = GPIO_PIN_1|GPIO_PIN_2|GPIO_PIN_3|GPIO_PIN_4
                          |GPIO_PIN_6|GPIO_PIN_11|GPIO_PIN_15;
  GPIO_InitStruct.Mode = GPIO_MODE_INPUT;
  GPIO_InitStruct.Pull = GPIO_NOPULL;
  HAL_GPIO_Init(GPIOA, &GPIO_InitStruct);

  /*Configure GPIO pins : PA5 PA7 PA8 PA9
                           PA10 PA12 */
  GPIO_InitStruct.Pin = GPIO_PIN_5|GPIO_PIN_7|GPIO_PIN_8|GPIO_PIN_9
                          |GPIO_PIN_10|GPIO_PIN_12;
  GPIO_InitStruct.Mode = GPIO_MODE_OUTPUT_PP;
  GPIO_InitStruct.Pull = GPIO_NOPULL;
  GPIO_InitStruct.Speed = GPIO_SPEED_FREQ_LOW;
  HAL_GPIO_Init(GPIOA, &GPIO_InitStruct);

  /*Configure GPIO pins : PB0 PB1 PB2 */
  GPIO_InitStruct.Pin = GPIO_PIN_0|GPIO_PIN_1|GPIO_PIN_2;
  GPIO_InitStruct.Mode = GPIO_MODE_OUTPUT_PP;
  GPIO_InitStruct.Pull = GPIO_NOPULL;
  GPIO_InitStruct.Speed = GPIO_SPEED_FREQ_LOW;
  HAL_GPIO_Init(GPIOB, &GPIO_InitStruct);

  /*Configure GPIO pin : PC6 */
  GPIO_InitStruct.Pin = GPIO_PIN_6;
  GPIO_InitStruct.Mode = GPIO_MODE_OUTPUT_PP;
  GPIO_InitStruct.Pull = GPIO_NOPULL;
  GPIO_InitStruct.Speed = GPIO_SPEED_FREQ_LOW;
  HAL_GPIO_Init(GPIOC, &GPIO_InitStruct);

}

void Error_Handler(void)
{
      __disable_irq();
      while (1) {}
}
